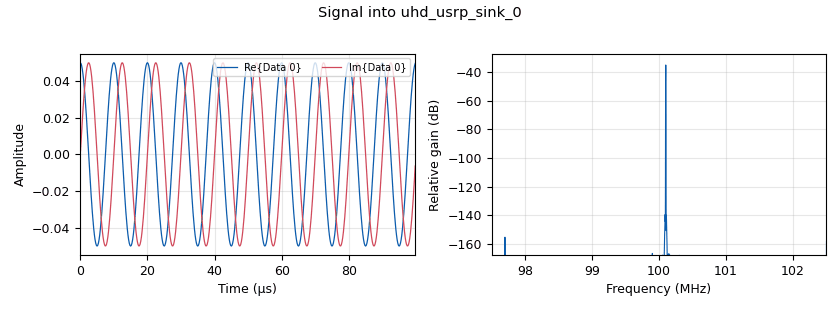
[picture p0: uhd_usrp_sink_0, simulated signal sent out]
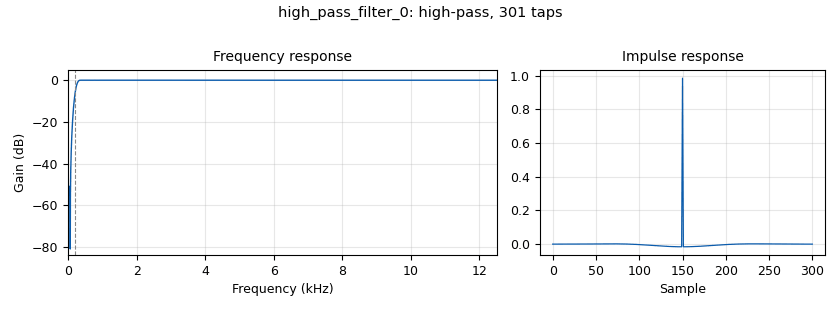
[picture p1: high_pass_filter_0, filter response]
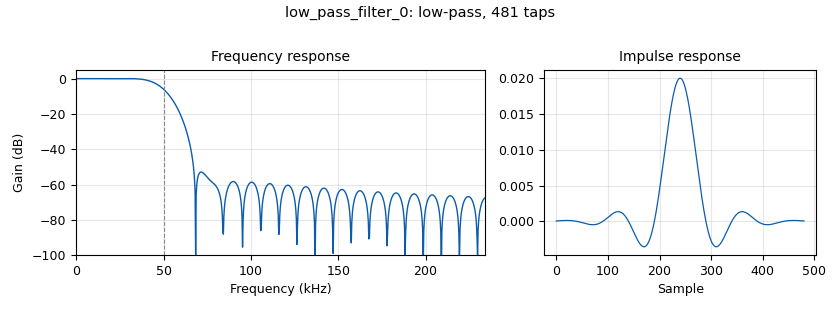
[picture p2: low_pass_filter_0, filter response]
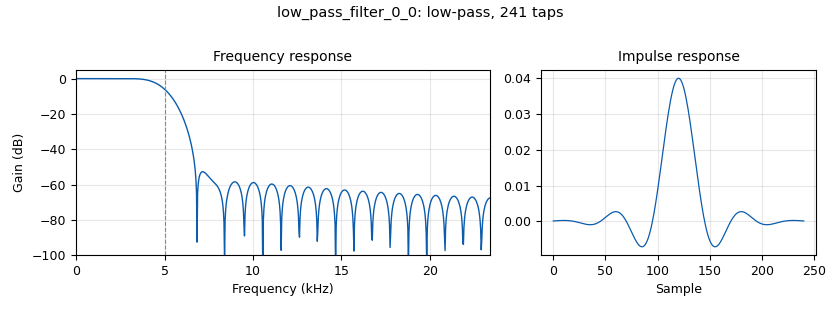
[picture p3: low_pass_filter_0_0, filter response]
options:
  parameters:
    generate_options: qt_gui
    id: test0_usrp
    output_language: python
    title: USRP loopback
  states: {}

blocks:
- name: fc
  id: variable
  parameters:
    value: 100e6
  states: {}
- name: fs_stage1
  id: variable
  parameters:
    value: samp_rate/20
  states: {}
- name: fs_stage2
  id: variable
  parameters:
    value: fs_stage1/10
  states: {}
- name: samp_rate
  id: variable
  parameters:
    value: 5e6
  states: {}
- name: analog_sig_source_x_0
  id: analog_sig_source_x
  parameters:
    amp: '0.05'
    freq: 100e3
    offset: '0'
    phase: '0'
    samp_rate: samp_rate
    type: complex
    waveform: analog.GR_SIN_WAVE
  states: {}
- name: analog_sig_source_x_0_0
  id: analog_sig_source_x
  parameters:
    amp: '0.05'
    freq: 100e3
    offset: '0'
    phase: '0'
    samp_rate: samp_rate
    type: complex
    waveform: analog.GR_SIN_WAVE
  states: {}
- name: blocks_complex_to_arg_0
  id: blocks_complex_to_arg
  parameters: {}
  states: {}
- name: blocks_multiply_conjugate_cc_1
  id: blocks_multiply_conjugate_cc
  parameters: {}
  states: {}
- name: high_pass_filter_0
  id: high_pass_filter
  parameters:
    cutoff_freq: '200'
    decim: '1'
    gain: '1'
    samp_rate: fs_stage2
    type: fir_filter_fff
    width: '200'
    win: window.WIN_HAMMING
  states: {}
- name: low_pass_filter_0
  id: low_pass_filter
  parameters:
    cutoff_freq: '50000'
    decim: '20'
    gain: '1'
    samp_rate: samp_rate
    type: fir_filter_fff
    width: '25000'
    win: window.WIN_HAMMING
  states: {}
- name: low_pass_filter_0_0
  id: low_pass_filter
  parameters:
    cutoff_freq: '5000'
    decim: '10'
    gain: '1'
    samp_rate: fs_stage1
    type: fir_filter_fff
    width: '2500'
    win: window.WIN_HAMMING
  states: {}
- name: qtgui_const_sink_x_0
  id: qtgui_const_sink_x
  parameters:
    autoscale: 'True'
    grid: 'True'
    name: IQ constellation
    size: '1024'
    type: complex
  states: {state: disabled}
- name: qtgui_freq_sink_x_0
  id: qtgui_freq_sink_x
  parameters:
    autoscale: 'True'
    average: '0.2'
    bw: '4000'
    fc: '0'
    fftsize: '2048'
    grid: 'True'
    norm_window: 'True'
    type: float
    update_time: '0.01'
  states: {}
- name: qtgui_time_sink_x_0
  id: qtgui_time_sink_x
  parameters:
    autoscale: 'True'
    grid: 'True'
    name: Phase (arg(I + jQ))
    size: '1024'
    srate: samp_rate
    type: float
    ylabel: Phase
    yunit: rad
  states: {state: disabled}
- name: qtgui_time_sink_x_0_0
  id: qtgui_time_sink_x
  parameters:
    autoscale: 'True'
    grid: 'True'
    name: Phase (arg(I + jQ))
    size: '1024'
    srate: fs_stage2
    type: float
    ylabel: Phase
    yunit: rad
  states: {}
- name: qtgui_waterfall_sink_x_0
  id: qtgui_waterfall_sink_x
  parameters:
    bw: samp_rate
    fc: '0'
    fftsize: '1024'
    type: complex
  states: {state: disabled}
- name: uhd_usrp_sink_0
  id: uhd_usrp_sink
  parameters:
    ant0: '"TX/RX"'
    center_freq0: fc
    dev_addr: addr=192.168.10.2
    gain0: '5'
    samp_rate: samp_rate
    sync: pc_clock
    type: fc32
  states: {}
- name: uhd_usrp_source_0
  id: uhd_usrp_source
  parameters:
    ant0: '"RX2"'
    center_freq0: fc
    dev_addr: addr=192.168.10.2
    gain0: '15'
    samp_rate: samp_rate
    sync: pc_clock
    type: fc32
  states: {}

connections:
- [analog_sig_source_x_0, '0', uhd_usrp_sink_0, '0']
- [analog_sig_source_x_0_0, '0', blocks_multiply_conjugate_cc_1, '1']
- [blocks_complex_to_arg_0, '0', low_pass_filter_0, '0']
- [blocks_complex_to_arg_0, '0', qtgui_time_sink_x_0, '0']
- [blocks_multiply_conjugate_cc_1, '0', blocks_complex_to_arg_0, '0']
- [blocks_multiply_conjugate_cc_1, '0', qtgui_const_sink_x_0, '0']
- [high_pass_filter_0, '0', qtgui_freq_sink_x_0, '0']
- [high_pass_filter_0, '0', qtgui_time_sink_x_0_0, '0']
- [low_pass_filter_0, '0', low_pass_filter_0_0, '0']
- [low_pass_filter_0_0, '0', high_pass_filter_0, '0']
- [uhd_usrp_source_0, '0', blocks_multiply_conjugate_cc_1, '0']

metadata:
  file_format: 1
  grc_version: 3.9.8.0
